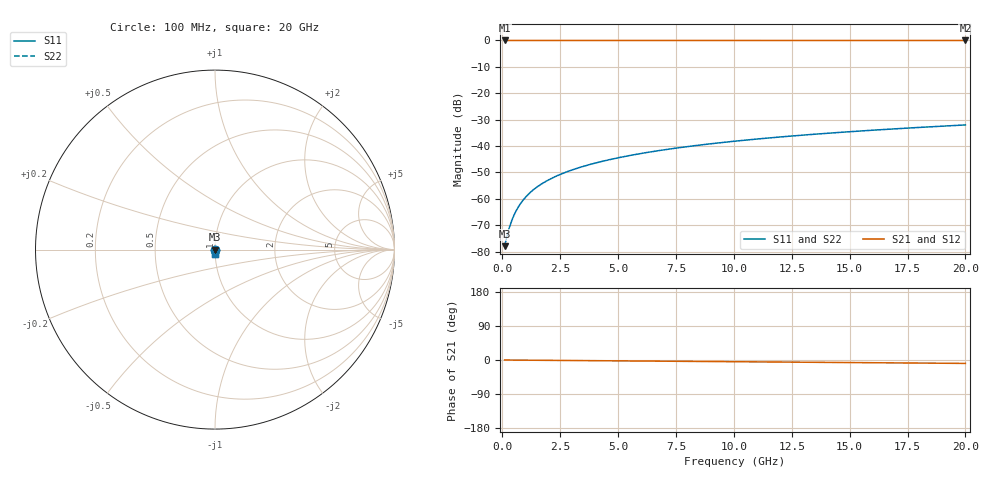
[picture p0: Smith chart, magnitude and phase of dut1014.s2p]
! Touchstone file exported from HFSS 2026.1.0
!  File:  C:/ffzhzh/LocalFiles/Ansys_Project_Files/temp_train_TSV_1014_1783188714_51560.aedt
!  Generated:  02:13:17 AM Jul  5, 2026
!  Design:  TSV
!  Project:  temp_train_TSV_1014_1783188714_51560
! Variables:
!  h_bsmrdl = 2um
!  h_ox = 20um
!  h_rdl = 5um
!  h_sub = 91.46um
!  h_tmrdl = 5um
!  h_tsv = 91.46um
!  h_via = 3um
!  l_bsmrdl = 300um
!  l_sub = 425.44um
!  l_tmrdl = 200um
!  m_sub = 200um
!  pitch = 43.8um
!  r_tsv = 12.72um
!  s_tmrdl = 10um
!  w_bsmrdl = 18um
!  w_sub = 500um
!  w_tmrdl = 12um
!  x_tsv_center1 = 206um
!  x_tsv_center2 = 524um
!  x_tsv_center3 = 736um
!  x_tsv_center4 = 1054um
!  x_tsv_center5 = 1266um
!  x_tsv_center6 = 1584um
# GHz S MA R 50.000000
! Terminal data exported
! Port[1] = TSV1_1_T1
! Port[2] = TSV1_1_T2
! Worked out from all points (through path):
!   200 points, 100 MHz to 20 GHz, reference 50 ohm
!   highest |S21| = 0.00 dB at 100 MHz (marker M1); lowest = 0.0 dB at 20 GHz (marker M2)
!   group delay of S21, straight-line fit = 1.25 ps
!   lowest |S11| = -77.9 dB at 100 MHz (marker M3), VSWR 1.00, Z = 50 - j0.0077 ohm
!   |S11| at or under -10 dB: start of sweep to end of sweep
!   |S22| runs from -77.9 to -32.0 dB; largest |S21 - S12| = 4.4e-15
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0.1  0.000127 -37.3  0.9999 -0.0  0.9999 -0.0  0.000127 -37.3
! Gamma 0 0 0 0
! Port Impedance 50 0 50 0
0.2  0.0001962 -53.7  0.9999 -0.1  0.9999 -0.1  0.0001962 -53.7
0.3  0.0002823 -60.6  0.9999 -0.1  0.9999 -0.1  0.0002823 -60.6
0.4  0.0003794 -64.3  0.9998 -0.2  0.9998 -0.2  0.0003794 -64.3
0.5  0.0004845 -66.8  0.9998 -0.2  0.9998 -0.2  0.0004845 -66.8
0.6  0.0005956 -68.6  0.9998 -0.3  0.9998 -0.3  0.0005956 -68.6
0.8  0.0008286 -71.6  0.9997 -0.4  0.9997 -0.4  0.0008286 -71.6
1.1  0.00119 -74.9  0.9997 -0.5  0.9997 -0.5  0.00119 -74.9
1.3  0.001434 -76.6  0.9997 -0.6  0.9997 -0.6  0.001434 -76.6
1.5  0.001678 -78.0  0.9996 -0.7  0.9996 -0.7  0.001678 -78.0
1.8  0.002045 -79.6  0.9996 -0.8  0.9996 -0.8  0.002045 -79.6
2.1  0.002411 -80.9  0.9996 -1.0  0.9996 -1.0  0.002411 -80.9
2.7  0.003144 -82.7  0.9995 -1.2  0.9995 -1.2  0.003144 -82.7
3.5  0.004126 -84.3  0.9995 -1.6  0.9995 -1.6  0.004126 -84.3
4.2  0.004992 -85.3  0.9994 -1.9  0.9994 -1.9  0.004992 -85.3
5  0.005988 -86.2  0.9994 -2.3  0.9994 -2.3  0.005988 -86.2
6.8  0.008252 -87.9  0.9992 -3.1  0.9992 -3.1  0.008252 -87.9
8.3  0.01015 -89.1  0.9991 -3.7  0.9991 -3.7  0.01015 -89.1
10.1  0.01244 -90.4  0.999 -4.5  0.999 -4.5  0.01244 -90.4
13.4  0.01665 -92.5  0.9988 -6.0  0.9988 -6.0  0.01665 -92.5
16.7  0.02087 -94.3  0.9986 -7.5  0.9986 -7.5  0.02087 -94.3
20  0.0251 -96.1  0.9984 -9.0  0.9984 -9.0  0.0251 -96.1
